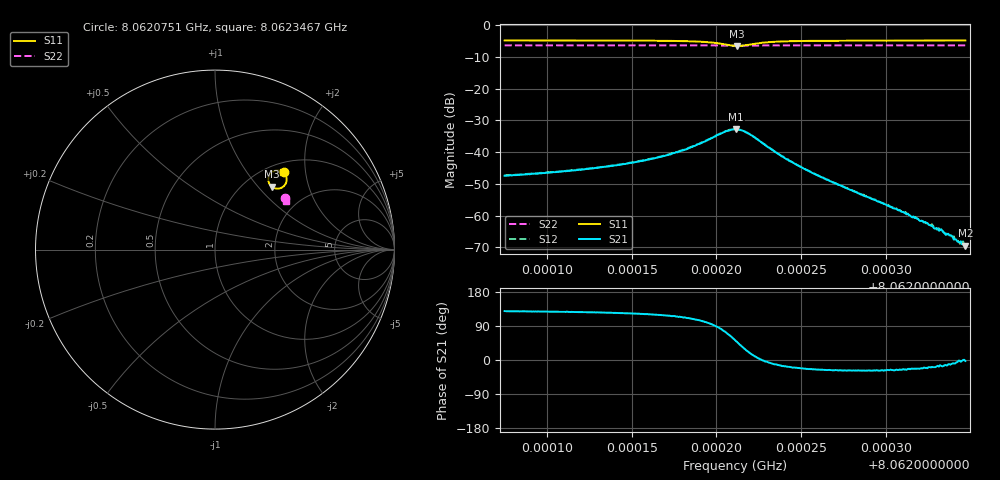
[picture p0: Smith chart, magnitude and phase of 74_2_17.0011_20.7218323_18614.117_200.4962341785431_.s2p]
#  HZ  S  RI  R  50.00
! Rohde & Schwarz Vector Network Analyzer
! Rohde-Schwarz,ZNB20-2Port,1311601062101988,3.16
! Created: UTC 3/20/2024, 10:55:20 PM
! freq[Hz]  re:S11  im:S11  re:S21  im:S21  re:S12  im:S12  re:S22  im:S22
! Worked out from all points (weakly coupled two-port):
!   401 points, 8.0620751 GHz to 8.0623467 GHz, reference 50 ohm
!   highest |S21| = -32.79 dB at 8.0622116 GHz (marker M1); lowest = -69.4 dB at 8.0623467 GHz (marker M2)
!   lowest |S11| = -6.5 dB at 8.0622123 GHz (marker M3), VSWR 2.79, Z = 65.6 + j59.3 ohm
!   |S11| at or under -10 dB: nowhere
!   |S22| runs from -6.4 to -6.3 dB; largest |S21 - S12| = 0.0017
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8.06207515e9  0.382 0.4303  -0.00268 0.0033  -0.00247 0.00351  0.3884 0.286
8.06212063e9  0.3877 0.424  -0.00314 0.00429  -0.00291 0.00451  0.3899 0.2834
8.06214575e9  0.3918 0.4179  -0.00359 0.00541  -0.00331 0.00571  0.3909 0.282
8.06216611e9  0.3961 0.4088  -0.00403 0.00727  -0.00364 0.00762  0.3915 0.2806
8.06218308e9  0.3994 0.3928  -0.00403 0.0107  -0.00335 0.011  0.3919 0.279
8.06219666e9  0.3922 0.3646  -0.00154 0.0163  -0.000435 0.0166  0.3916 0.2774
8.06220548e9  0.3606 0.3408  0.00618 0.0203  0.00764 0.0201  0.3901 0.2764
8.06221091e9  0.324 0.3455  0.0139 0.0181  0.0153 0.0173  0.3888 0.277
8.06221159e9  0.3195 0.3482  0.0148 0.0175  0.0161 0.0165  0.3886 0.2772
8.06221227e9  0.3154 0.3513  0.0156 0.0166  0.0169 0.0156  0.3884 0.2775
8.06221499e9  0.3024 0.3673  0.018 0.0127  0.0188 0.0115  0.3883 0.2781
8.06221906e9  0.297 0.3941  0.0183 0.0068  0.0188 0.00553  0.3885 0.2792
8.06222856e9  0.3167 0.4314  0.013 -0.000892  0.0131 -0.00153  0.3904 0.2799
8.0622401e9  0.3399 0.4413  0.00775 -0.0023  0.00771 -0.00284  0.3917 0.2795
8.0622564e9  0.3569 0.4412  0.00428 -0.00196  0.00422 -0.0022  0.3931 0.2785
8.06230188e9  0.3743 0.4351  0.00125 -0.00063  0.00122 -0.000726  0.395 0.2758
8.06232292e9  0.3781 0.4329  0.000739 -0.000281  0.000705 -0.00035  0.3958 0.2747
8.06232767e9  0.3788 0.4323  0.000626 -0.000216  0.000639 -0.000241  0.396 0.2745
8.06233785e9  0.3803 0.4314  0.00048 -0.000105  0.000461 -9.92e-05  0.3964 0.2739
8.06234125e9  0.3806 0.4313  0.000415 -4.87e-05  0.000423 -0.000101  0.3965 0.2738
8.06234328e9  0.3809 0.431  0.000375 -1.18e-05  0.000374 -4.07e-05  0.3965 0.2736
8.06234668e9  0.3813 0.4306  0.000337 -1.58e-05  0.000328 -3.62e-05  0.3966 0.2735
